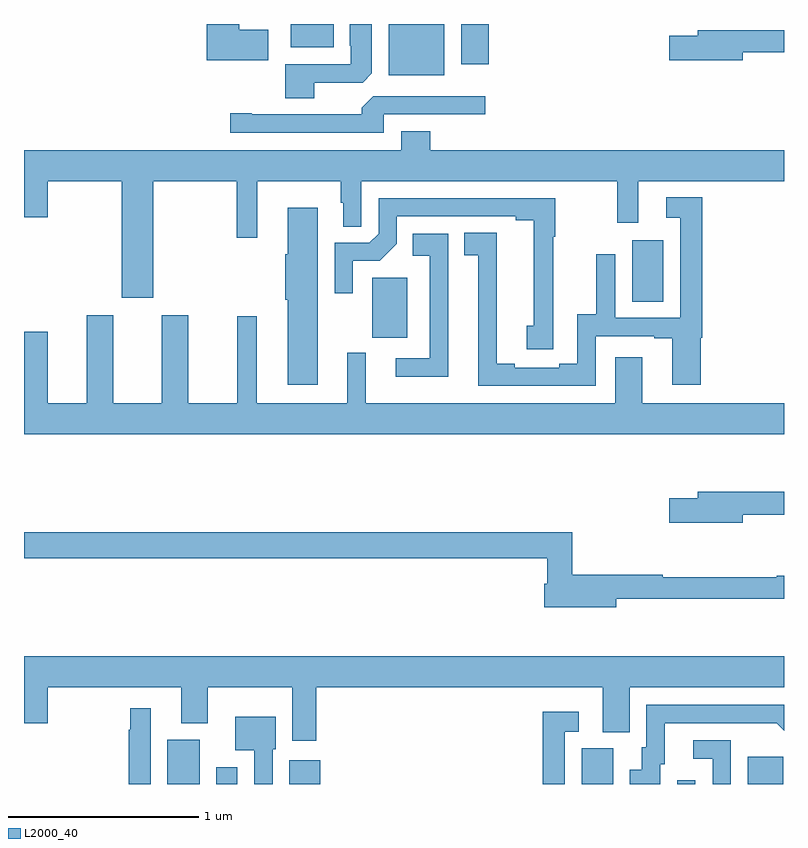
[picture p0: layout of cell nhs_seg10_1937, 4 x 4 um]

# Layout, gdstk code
import gdstk
lib = gdstk.Library(unit=1e-6, precision=1e-09)
def R(c, l, rs):  # rectangles x0, y0, x1, y1
    for r in rs: c.add(gdstk.rectangle(r[:2], r[2:], *l))
def P(c, l, *ps):  # polygons
    for p in ps: c.add(gdstk.Polygon(p, *l))
L2000_40 = (2000, 40)

nhs_seg10_1937 = lib.new_cell('nhs_seg10_1937')
R(nhs_seg10_1937, L2000_40, [(213.755,1274.5,213.925,1274.734), (214.013,1274.5,214.123,1274.587), (214.397,1274.5,214.559,1274.626), (215.936,1274.5,216.1,1274.688), (216.438,1274.5,216.534,1274.521), (216.809,1274.5,216.997,1274.644), (214.832,1276.85,215.017,1277.164), (216.2,1277.038,216.364,1277.362), (214.919,1278.23,215.212,1278.5), (215.3,1278.288,215.447,1278.5), (214.403,1278.377,214.63,1278.5)])
P(nhs_seg10_1937, L2000_40, [(214.285,1278.471),(214.132,1278.471),(214.132,1278.5),(213.962,1278.5),(213.962,1278.308),(214.285,1278.308)],
  [(214.528,1278.192),(214.782,1278.192),(214.831,1278.241),(214.831,1278.5),(214.715,1278.5),(214.715,1278.385),(214.719,1278.385),(214.719,1278.288),(214.376,1278.288),(214.376,1278.109),(214.528,1278.109)],
  [(216.784,1278.352),(217,1278.352),(217,1278.468),(216.545,1278.468),(216.545,1278.439),(216.396,1278.439),(216.396,1278.31),(216.784,1278.31)],
  [(214.893,1278.024),(215.428,1278.024),(215.428,1278.12),(214.839,1278.12),(214.778,1278.058),(214.778,1278.024),(214.198,1278.024),(214.198,1278.029),(214.086,1278.029),(214.086,1277.928),(214.893,1277.928)],
  [(213.679,1277.672),(214.119,1277.672),(214.119,1277.376),(214.228,1277.376),(214.228,1277.672),(214.668,1277.672),(214.668,1277.559),(214.679,1277.559),(214.679,1277.434),(214.776,1277.434),(214.776,1277.672),(216.123,1277.672),(216.123,1277.454),(216.232,1277.454),(216.232,1277.672),(217,1277.672),(217,1277.836),(215.138,1277.836),(215.138,1277.935),(214.985,1277.935),(214.985,1277.836),(213,1277.836),(213,1277.484),(213.124,1277.484),(213.124,1277.672),(213.515,1277.672),(213.515,1277.058),(213.679,1277.058)],
  [(216.009,1276.857),(216.317,1276.857),(216.317,1276.845),(216.413,1276.845),(216.413,1276.602),(216.563,1276.602),(216.563,1276.85),(216.569,1276.85),(216.569,1277.587),(216.381,1277.587),(216.381,1277.481),(216.453,1277.481),(216.453,1276.953),(216.111,1276.953),(216.111,1277.287),(216.013,1277.287),(216.013,1276.973),(215.913,1276.973),(215.913,1276.712),(215.816,1276.712),(215.816,1276.692),(215.584,1276.692),(215.584,1276.712),(215.488,1276.712),(215.488,1276.993),(215.489,1276.993),(215.489,1277.402),(215.317,1277.402),(215.317,1277.284),(215.39,1277.284),(215.39,1276.596),(216.009,1276.596)],
  [(215.785,1277.38),(215.795,1277.38),(215.795,1277.583),(214.866,1277.583),(214.866,1277.397),(214.818,1277.349),(214.635,1277.349),(214.635,1277.082),(214.731,1277.082),(214.731,1277.253),(214.872,1277.253),(214.962,1277.343),(214.962,1277.487),(215.588,1277.487),(215.588,1277.467),(215.684,1277.467),(215.684,1276.912),(215.645,1276.912),(215.645,1276.788),(215.785,1276.788)],
  [(214.546,1277.533),(214.388,1277.533),(214.388,1277.288),(214.376,1277.288),(214.376,1277.05),(214.388,1277.05),(214.388,1276.602),(214.546,1276.602)],
  [(215.233,1277.194),(215.232,1277.194),(215.232,1277.397),(215.047,1277.397),(215.047,1277.281),(215.136,1277.281),(215.136,1276.74),(214.956,1276.74),(214.956,1276.643),(215.233,1276.643)],
  [(217,1276.504),(216.253,1276.504),(216.253,1276.747),(216.113,1276.747),(216.113,1276.504),(214.798,1276.504),(214.798,1276.771),(214.7,1276.771),(214.7,1276.504),(214.225,1276.504),(214.225,1276.963),(214.123,1276.963),(214.123,1276.504),(213.865,1276.504),(213.865,1276.966),(213.725,1276.966),(213.725,1276.504),(213.469,1276.504),(213.469,1276.966),(213.329,1276.966),(213.329,1276.504),(213.124,1276.504),(213.124,1276.879),(213,1276.879),(213,1276.34),(217,1276.34)],
  [(216.784,1275.918),(217,1275.918),(217,1276.039),(216.545,1276.039),(216.545,1276.005),(216.396,1276.005),(216.396,1275.875),(216.784,1275.875)],
  [(216.118,1275.474),(217,1275.474),(217,1275.595),(216.962,1275.595),(216.962,1275.587),(216.362,1275.587),(216.362,1275.602),(215.885,1275.602),(215.885,1275.824),(213,1275.824),(213,1275.688),(215.753,1275.688),(215.753,1275.553),(215.738,1275.553),(215.738,1275.431),(216.118,1275.431)],
  [(214.538,1275.008),(216.047,1275.008),(216.047,1274.773),(216.187,1274.773),(216.187,1275.008),(217,1275.008),(217,1275.172),(213,1275.172),(213,1274.82),(213.124,1274.82),(213.124,1275.008),(213.827,1275.008),(213.827,1274.819),(213.967,1274.819),(213.967,1275.008),(214.412,1275.008),(214.412,1274.727),(214.538,1274.727)],
  [(216.349,1274.604),(216.373,1274.604),(216.373,1274.82),(216.961,1274.82),(217,1274.781),(217,1274.916),(216.276,1274.916),(216.276,1274.694),(216.251,1274.694),(216.251,1274.575),(216.188,1274.575),(216.188,1274.5),(216.349,1274.5)],
  [(213.666,1274.899),(213.558,1274.899),(213.558,1274.786),(213.55,1274.786),(213.55,1274.5),(213.666,1274.5)],
  [(215.847,1274.775),(215.92,1274.775),(215.92,1274.881),(215.731,1274.881),(215.731,1274.5),(215.847,1274.5)],
  [(214.308,1274.682),(214.324,1274.682),(214.324,1274.854),(214.112,1274.854),(214.112,1274.678),(214.212,1274.678),(214.212,1274.5),(214.308,1274.5)],
  [(216.72,1274.73),(216.522,1274.73),(216.522,1274.634),(216.624,1274.634),(216.624,1274.5),(216.72,1274.5)])

lib.write_gds('nhs_seg10_1937.gds')
